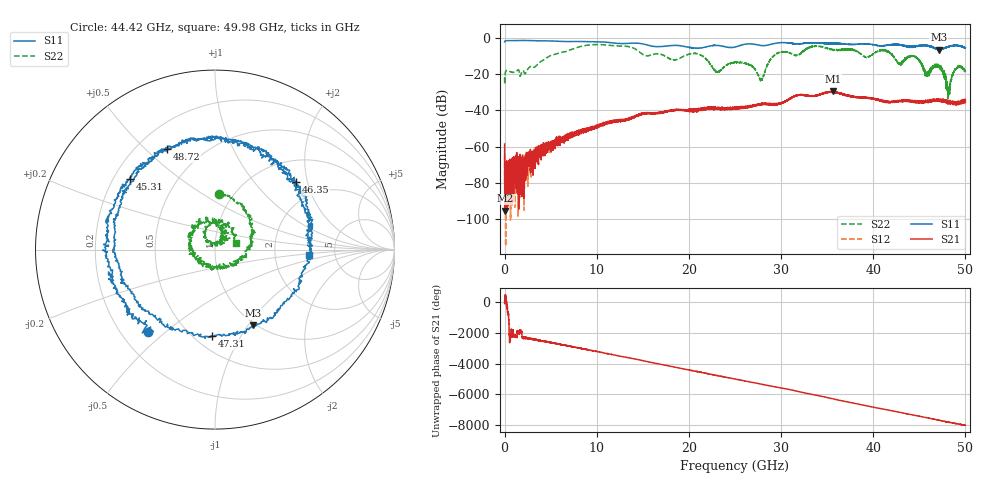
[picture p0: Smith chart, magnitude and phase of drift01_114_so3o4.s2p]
!Created with skrf (http://scikit-rf.org).
# Hz S RI R 50.0
!freq ReS11 ImS11 ReS21 ImS21 ReS12 ImS12 ReS22 ImS22
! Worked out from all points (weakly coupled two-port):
!   10001 points, 300 kHz to 50 GHz, reference 50 ohm
!   highest |S21| = -29.52 dB at 35.63 GHz (marker M1); lowest = -95.5 dB at 65.3 MHz (marker M2)
!   lowest |S11| = -6.5 dB at 47.12 GHz (marker M3), VSWR 2.79, Z = 48.6 - j52.8 ohm
!   |S11| at or under -10 dB: nowhere
!   |S22| runs from -33.7 to -3.6 dB; largest |S21 - S12| = 0.0039
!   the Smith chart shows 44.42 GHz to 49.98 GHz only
!   S11 on the Smith chart (normalised r, x): 44.42 GHz: 0.31, -0.44; 45.31 GHz: 0.27, +0.34; 46.35 GHz: 1.49, +1.71; 47.31 GHz: 0.61, -0.76; 48.72 GHz: 0.32, +0.58; 49.98 GHz: 3.19, -0.28
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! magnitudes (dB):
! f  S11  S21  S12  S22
! 300 kHz  -2.1  -58.6  -64.1  -21.8
! 65.3 MHz  -1.6  -95.5  -87.2  -19.7
! 1.93 GHz  -1.4  -66.3  -75.8  -18.3
! 8.335 GHz  -1.9  -50.9  -51.2  -4.5
! 16.67 GHz  -4.8  -41.4  -41.8  -8.7
! 20.97 GHz  -5.6  -39.2  -40.1  -8.8
! 23.07 GHz  -4.1  -39.0  -38.9  -18.6
! 25 GHz  -5.0  -38.9  -38.7  -13.7
! 27.84 GHz  -4.1  -36.3  -36.5  -23.2
! 29.47 GHz  -2.8  -36.8  -36.6  -8.8
! 33.34 GHz  -2.6  -32.0  -32.0  -4.7
! 35.63 GHz  -3.0  -29.5  -29.9  -6.7
! 41.67 GHz  -3.9  -35.3  -35.8  -7.7
! 44.42 GHz  -4.5  -35.3  -35.6  -10.1
! 45.31 GHz  -4.2  -35.6  -35.4  -15.5
! 46.35 GHz  -4.6  -35.2  -34.5  -16.6
! 47.12 GHz  -6.5  -33.8  -34.7  -15.5
! 47.31 GHz  -6.4  -34.7  -34.5  -15.8
! 48.13 GHz  -4.8  -35.5  -35.3  -30.5
! 48.72 GHz  -4.1  -35.6  -35.5  -18.6
! 49.98 GHz  -5.6  -35.8  -34.8  -18.2
! 50 GHz  -5.5  -35.3  -35.0  -18.4
